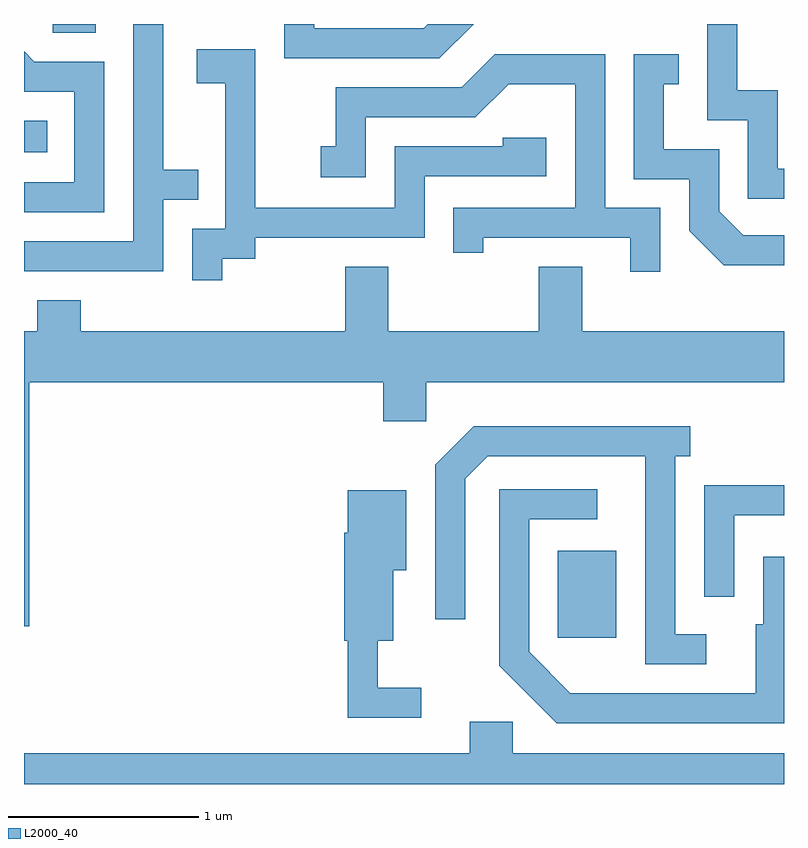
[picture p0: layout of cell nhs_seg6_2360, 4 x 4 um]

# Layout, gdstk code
import gdstk
lib = gdstk.Library(unit=1e-6, precision=1e-09)
def R(c, l, rs):  # rectangles x0, y0, x1, y1
    for r in rs: c.add(gdstk.rectangle(r[:2], r[2:], *l))
def P(c, l, *ps):  # polygons
    for p in ps: c.add(gdstk.Polygon(p, *l))
L2000_40 = (2000, 40)

nhs_seg6_2360 = lib.new_cell('nhs_seg6_2360')
R(nhs_seg6_2360, L2000_40, [(260.421,1530.931,260.729,1531.389), (257.611,1533.486,257.733,1533.654), (257.761,1534.116,257.989,1534.162)])
P(nhs_seg6_2360, L2000_40, [(258.344,1533.236),(258.528,1533.236),(258.528,1533.394),(258.344,1533.394),(258.344,1534.162),(258.186,1534.162),(258.186,1533.019),(257.611,1533.019),(257.611,1532.861),(258.344,1532.861)],
  [(259.978,1534.162),(259.737,1534.162),(259.714,1534.139),(259.139,1534.139),(259.139,1534.162),(258.981,1534.162),(258.981,1533.981),(259.796,1533.981)],
  [(261.611,1533.399),(261.579,1533.399),(261.579,1533.814),(261.364,1533.814),(261.364,1534.162),(261.206,1534.162),(261.206,1533.656),(261.421,1533.656),(261.421,1533.241),(261.611,1533.241)],
  [(258.654,1532.926),(258.829,1532.926),(258.829,1533.036),(259.719,1533.036),(259.719,1533.361),(260.359,1533.361),(260.359,1533.564),(260.131,1533.564),(260.131,1533.519),(259.561,1533.519),(259.561,1533.194),(258.829,1533.194),(258.829,1534.029),(258.521,1534.029),(258.521,1533.851),(258.671,1533.851),(258.671,1533.084),(258.496,1533.084),(258.496,1532.813),(258.654,1532.813)],
  [(258.034,1533.964),(257.666,1533.964),(257.611,1534.019),(257.611,1533.806),(257.876,1533.806),(257.876,1533.329),(257.611,1533.329),(257.611,1533.171),(258.034,1533.171)],
  [(260.959,1533.194),(260.669,1533.194),(260.669,1534.004),(260.089,1534.004),(259.914,1533.829),(259.251,1533.829),(259.251,1533.519),(259.173,1533.519),(259.173,1533.356),(259.409,1533.356),(259.409,1533.671),(259.986,1533.671),(260.162,1533.846),(260.511,1533.846),(260.511,1533.194),(259.871,1533.194),(259.871,1532.958),(260.029,1532.958),(260.029,1533.036),(260.801,1533.036),(260.801,1532.858),(260.959,1532.858)],
  [(261.611,1533.049),(261.397,1533.049),(261.269,1533.177),(261.269,1533.504),(260.979,1533.504),(260.979,1533.846),(261.058,1533.846),(261.058,1534.004),(260.821,1534.004),(260.821,1533.346),(261.111,1533.346),(261.111,1533.074),(261.294,1532.891),(261.611,1532.891)],
  [(257.639,1532.276),(259.501,1532.276),(259.501,1532.071),(259.729,1532.071),(259.729,1532.276),(261.611,1532.276),(261.611,1532.544),(260.549,1532.544),(260.549,1532.884),(260.321,1532.884),(260.321,1532.544),(259.529,1532.544),(259.529,1532.884),(259.301,1532.884),(259.301,1532.544),(257.909,1532.544),(257.909,1532.709),(257.681,1532.709),(257.681,1532.544),(257.611,1532.544),(257.611,1530.991),(257.639,1530.991)],
  [(261.203,1530.949),(261.039,1530.949),(261.039,1531.886),(261.118,1531.886),(261.118,1532.044),(259.979,1532.044),(259.776,1531.842),(259.776,1531.028),(259.934,1531.028),(259.934,1531.769),(260.052,1531.886),(260.881,1531.886),(260.881,1530.791),(261.203,1530.791)],
  [(261.349,1531.576),(261.611,1531.576),(261.611,1531.734),(261.191,1531.734),(261.191,1531.148),(261.349,1531.148)],
  [(261.611,1531.359),(261.501,1531.359),(261.501,1531.004),(261.461,1531.004),(261.461,1530.639),(260.486,1530.639),(260.269,1530.857),(260.269,1531.556),(260.628,1531.556),(260.628,1531.714),(260.111,1531.714),(260.111,1530.784),(260.414,1530.481),(261.611,1530.481)],
  [(259.703,1530.669),(259.474,1530.669),(259.474,1530.916),(259.554,1530.916),(259.554,1531.286),(259.624,1531.286),(259.624,1531.709),(259.316,1531.709),(259.316,1531.484),(259.296,1531.484),(259.296,1530.916),(259.316,1530.916),(259.316,1530.511),(259.703,1530.511)],
  [(261.611,1530.324),(260.184,1530.324),(260.184,1530.489),(259.956,1530.489),(259.956,1530.324),(257.611,1530.324),(257.611,1530.162),(261.611,1530.162)])

lib.write_gds('nhs_seg6_2360.gds')
